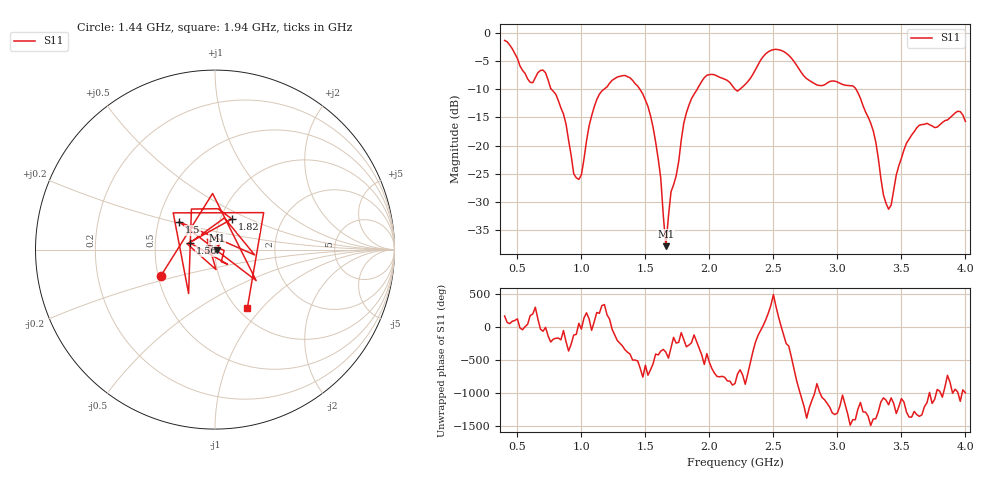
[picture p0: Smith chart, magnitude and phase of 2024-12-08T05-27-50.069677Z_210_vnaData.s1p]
!Created with skrf (http://scikit-rf.org).
# Hz S RI R 50.0
!freq ReS11 ImS11
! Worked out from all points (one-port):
!   181 points, 400 MHz to 4 GHz, reference 50 ohm
!   lowest |S11| = -37.9 dB at 1.66 GHz (marker M1), VSWR 1.03, Z = 51.2 - j0.463 ohm
!   |S11| at or under -10 dB: 766.3 MHz to 1.176 GHz (409.7 MHz wide, 42.2 % of centre); 1.457 GHz to 1.904 GHz (447 MHz wide, 26.6 % of centre); 3.146 GHz to end of sweep (the widest 3 of 4)
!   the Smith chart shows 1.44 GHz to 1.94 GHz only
!   S11 on the Smith chart (normalised r, x): 1.44 GHz: 0.51, -0.17; 1.5 GHz: 0.64, +0.21; 1.56 GHz: 0.75, +0.06; 1.82 GHz: 1.13, +0.40; 1.94 GHz: 1.11, -0.84
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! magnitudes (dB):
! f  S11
! 400 MHz  -1.3
! 600 MHz  -8.8
! 720 MHz  -7.1
! 860 MHz  -14.4
! 940 MHz  -25.0
! 980 MHz  -26.0
! 1.12 GHz  -11.8
! 1.3 GHz  -7.7
! 1.44 GHz  -9.4
! 1.5 GHz  -11.9
! 1.56 GHz  -16.8
! 1.62 GHz  -25.8
! 1.66 GHz  -37.9
! 1.7 GHz  -28.2
! 1.76 GHz  -22.9
! 1.82 GHz  -14.2
! 1.94 GHz  -8.6
! 2.2 GHz  -10.0
! 2.48 GHz  -3.1
! 2.66 GHz  -5.0
! 2.84 GHz  -9.2
! 3.1 GHz  -9.4
! 3.28 GHz  -17.4
! 3.36 GHz  -28.8
! 3.4 GHz  -31.3
! 3.56 GHz  -18.8
! 3.94 GHz  -13.9
! 4 GHz  -15.7
